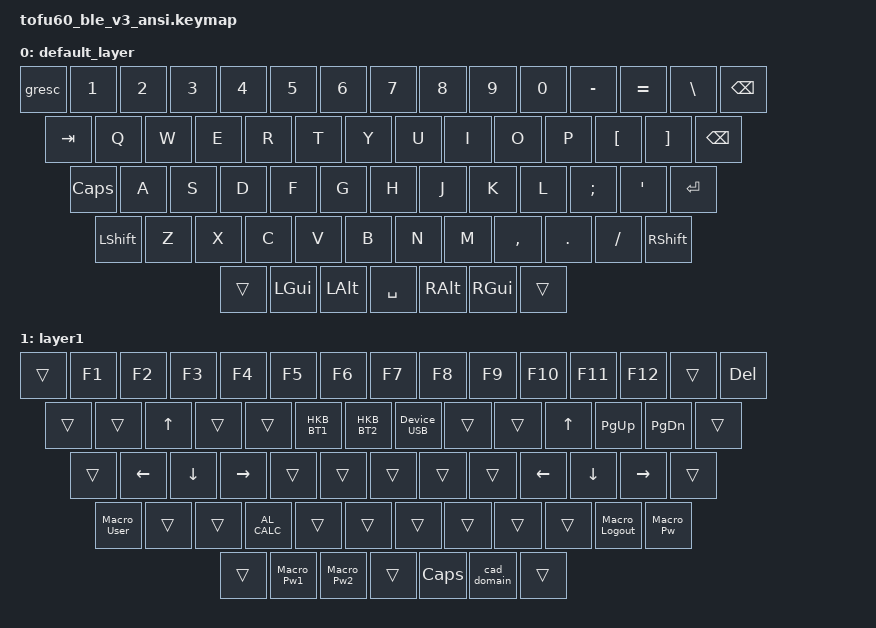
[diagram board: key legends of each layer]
#include "common.keymap"

#define UF_RESET bootloader_reset 0 0
#define HKB_BT1 hkb_bt1 0 0
#define HKB_BT2 hkb_bt2 0 1
#define HKB_BT3 hkb_bt3 0 2

/ {
    keymap {
        compatible = "zmk,keymap";
        
        default_layer {

            bindings = <
    &gresc  &kp N1 &kp N2 &kp N3 &kp N4 &kp N5 &kp N6 &kp N7 &kp N8 &kp N9 &kp N0 &kp MINUS &kp EQUAL &kp BSLH &kp BSPC
    &kp TAB    &kp Q  &kp W  &kp E  &kp R  &kp T  &kp Y  &kp U  &kp I  &kp O  &kp P  &kp LBKT  &kp RBKT  &kp BSPC
    &kp CLCK    &kp A  &kp S  &kp D  &kp F  &kp G  &kp H  &kp J  &kp K  &kp L  &kp SEMI &kp SQT        &kp RET
    &kp LSHFT           &kp Z  &kp X  &kp C  &kp V  &kp B  &kp N  &kp M  &kp COMMA &kp DOT &kp FSLH      &kp RSHIFT
    &trans &kp LGUI &kp LALT             &kp SPACE                              &kp RALT  &kp RGUI &trans
            >;
        };

        layer1 {
            bindings = <
    &trans  &kp F1    &kp F2    &kp F3  &kp F4   &kp F5  &kp F6  &kp F7  &kp F8   &kp F9   &kp F10  &kp F11 &kp F12  &trans  &kp DELETE
    &trans &trans    &kp UP    &trans  &trans   &HKB_BT1  &HKB_BT2  &Device_USB  &trans   &trans    &kp UP   &kp PAGE_UP  &kp PAGE_DOWN  &trans
    &trans   &kp LEFT  &kp DOWN  &kp RIGHT &trans  &trans   &trans   &trans  &trans   &kp LEFT  &kp DOWN  &kp RIGHT      &trans 
    &Macro_User    &trans    &trans    &kp C_AL_CALC  &trans   &trans  &trans   &trans   &trans    &trans    &Macro_Logout &Macro_Pw
    &trans  &Macro_Pw1 &Macro_Pw2                       &trans                                             &kp CLCK      &cad_domain &trans
            >;
        };
        layer2 { status = "reserved"; };
        layer3 { status = "reserved"; };
        layer4 { status = "reserved"; };
        layer5 { status = "reserved"; };
        layer6 { status = "reserved"; };
        layer7 { status = "reserved"; };
    };
};
